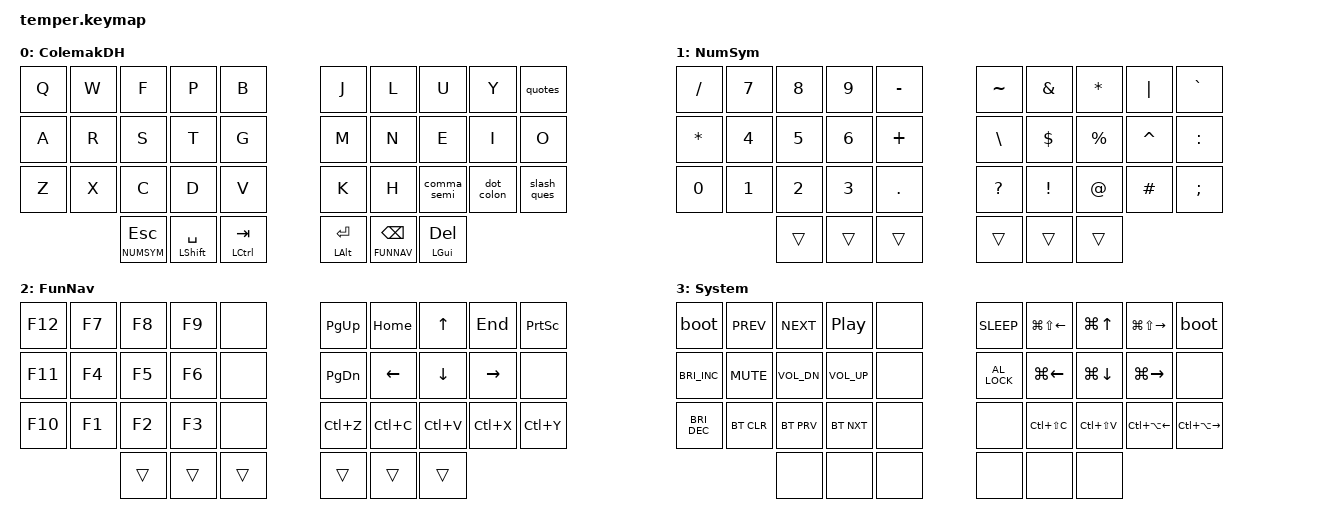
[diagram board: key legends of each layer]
/*
 * https://github.com/zmkfirmware/zmk/blob/main/app/include/dt-bindings/zmk/keys.h
 */

#include "zmk-nodefree-config/helper.h"
#include "zmk-nodefree-config/keypos_def/keypos_36keys.h"

#include <behaviors.dtsi>
#include <dt-bindings/zmk/keys.h>
#include <dt-bindings/zmk/bt.h>

#define DEF 0
#define NUMSYM 1
#define FUNNAV 2
#define SYS 3
// #define GMG 4

#define XXX &none
#define ___ &trans

#define QUICK_TAP_MS 175

#define KEYS_L LT0 LT1 LT2 LT3 LT4 LM0 LM1 LM2 LM3 LM4 LB0 LB1 LB2 LB3 LB4  /* left hand  */
#define KEYS_R RT0 RT1 RT2 RT3 RT4 RM0 RM1 RM2 RM3 RM4 RB0 RB1 RB2 RB3 RB4  /* right hand */
#define THUMBS LH2 LH1 LH0 RH0 RH1 RH2                                      /* thumbs     */

// ---------- SETTINGS ----------

&sk {  // sticky-key config
    release-after-ms = <1000>; // release after 1s
    quick-release;             // no double capitalization when rolling keys
};

&sl {  // sticky-layer config
    ignore-modifiers;          // allow chording sticky mods & layers
};

&lt {  // layer-tap config
    flavor = "balanced";
    tapping-term-ms = <200>;
    quick-tap-ms = <QUICK_TAP_MS>;
};

// ----------- COMBOS -----------
#undef COMBO_HOOK
#define COMBO_HOOK require-prior-idle-ms = <150>;
#define COMBO_TERM_FAST 25
#define COMBO_TERM_SLOW 50

// left and right brace { }
ZMK_COMBO(lbrc, &kp LBRC, RT1 RT2, DEF NUMSYM, COMBO_TERM_FAST)
ZMK_COMBO(rbrc, &kp RBRC, RT2 RT3, DEF NUMSYM, COMBO_TERM_FAST)

// left and right bracket [ ]
ZMK_COMBO(lbkt, &kp LBKT, RT0 RT1, DEF NUMSYM, COMBO_TERM_FAST)
ZMK_COMBO(rbkt, &kp RBKT, RT3 RT4, DEF NUMSYM, COMBO_TERM_FAST)

// left and right parenthesis ( )
ZMK_COMBO(lpar, &kp LPAR, RM1 RM2, DEF NUMSYM, COMBO_TERM_FAST)
ZMK_COMBO(rpar, &kp RPAR, RM2 RM3, DEF NUMSYM, COMBO_TERM_FAST)

// tilde ~
ZMK_COMBO(tilde, &kp TILDE, LM3 LM2, DEF, COMBO_TERM_FAST)
// MINUS -
ZMK_COMBO(minus, &kp MINUS, LM2 LM1, DEF, COMBO_TERM_FAST)


// left and right less-then and greater-then < >
ZMK_COMBO(lt, &kp LT, LT3 LT2, DEF, COMBO_TERM_FAST)
ZMK_COMBO(gt, &kp GT, LT2 LT1, DEF, COMBO_TERM_FAST)

// forward and backward slash \ /
ZMK_COMBO(backslash, &kp BACKSLASH, LB3 LB2, DEF, COMBO_TERM_FAST)
ZMK_COMBO(slash, &kp SLASH, LB2 LB1, DEF, COMBO_TERM_FAST)

ZMK_COMBO(under, &kp UNDER, RB1 RB2, DEF NUMSYM, COMBO_TERM_FAST)
ZMK_COMBO(equal, &kp EQUAL, RB2 RB3, DEF NUMSYM, COMBO_TERM_FAST)

// // macOS shift space left and right
// ZMK_COMBO(workspace_left,  &kp LC(LEFT),  LM3 LM2, NUM FUN, COMBO_TERM_FAST)
// ZMK_COMBO(workspace_right, &kp LC(RIGHT), LM2 LM1, NUM FUN, COMBO_TERM_FAST)

// left and right arrow '->'
ZMK_BEHAVIOR(larr, macro,
    wait-ms = <0>;
    tap-ms = <5>;
    bindings = <&kp LT &kp MINUS>;
)
ZMK_BEHAVIOR(rarr, macro,
    wait-ms = <0>;
    tap-ms = <5>;
    bindings = <&kp MINUS &kp GT>;
)
ZMK_COMBO(left_arrow,  &larr, LM4 LM3, DEF, COMBO_TERM_FAST)
ZMK_COMBO(right_arrow, &rarr, LM1 LM0, DEF, COMBO_TERM_FAST)


// ----------- KEYMAP -----------

// Cross-hand only home row mods
#define MAKE_HRM(NAME, HOLD, TAP, TRIGGER_POS) \
    ZMK_BEHAVIOR(NAME, hold_tap, \
        flavor = "balanced"; \
        tapping-term-ms = <280>; \
        quick-tap-ms = <QUICK_TAP_MS>; \
        require-prior-idle-ms = <150>; \
        bindings = <HOLD>, <TAP>; \
        hold-trigger-key-positions = <TRIGGER_POS>; \
        hold-trigger-on-release; \
    )
MAKE_HRM(hml, &kp, &kp, KEYS_R THUMBS)  // left-hand HRMs
MAKE_HRM(hmr, &kp, &kp, KEYS_L THUMBS)  // right-hand HRMs
MAKE_HRM(hma, &kp, &kp, KEYS_L KEYS_R THUMBS)  // both hand


// tap: sticky shift | shift + tap or double-tap: caps word | hold: navigation layer
#define smart_shift smart_shift_inner SYM 0
ZMK_BEHAVIOR(smart_shift_inner, hold_tap,
    flavor = "balanced";
    tapping-term-ms = <200>;
    quick-tap-ms = <QUICK_TAP_MS>;
    bindings = <&mo>, <&shift_word>;
)
ZMK_BEHAVIOR(shift_word, mod_morph,
    bindings = <&sk LSHFT>, <&caps_word>;
    mods = <MOD_LSFT>;
)

// tap: backspace | lshft + tap: delete | rshft + tap: shift-delete
ZMK_BEHAVIOR(bs_del, mod_morph,
    bindings = <&kp BSPC>, <&kp DEL>;
    mods = <(MOD_LSFT|MOD_RSFT)>;
    /* keep-mods = <MOD_RSFT>; */
)

// reuse basic mod-morph scheme
#define SIMPLE_MORPH(NAME, MOD, BINDING1, BINDING2) \
    ZMK_BEHAVIOR(NAME, mod_morph, \
        mods = <(MOD_L ## MOD|MOD_R ## MOD)>; \
        bindings = <BINDING1>, <BINDING2>; \
    )

// tap: colon | shift + tap: semicolon
SIMPLE_MORPH(semi_colon, SFT, &kp SEMI, &kp COLON)

// tap: plus | shift + tap: equal
SIMPLE_MORPH(plus_equal, SFT, &kp PLUS, &kp EQUAL)

// tap: ' | shift + tap: "
SIMPLE_MORPH(quotes, SFT, &kp APOS, &kp DOUBLE_QUOTES)

// tap: - | shift + tap: _
SIMPLE_MORPH(hyphen_under, SFT, &kp MINUS, &kp UNDER)

// tap: ` | shift + tap: ~
SIMPLE_MORPH(grave_tilde, SFT, &kp GRAVE, &kp TILDE)

// tap: ` | shift + tap: ~
SIMPLE_MORPH(slash_ques, SFT, &kp SLASH, &kp QMARK)

// tap: . | shift + tap: :
SIMPLE_MORPH(dot_colon, SFT, &kp DOT, &kp COLON)

// tap: , | shift + tap: ;
SIMPLE_MORPH(comma_semi, SFT, &kp COMMA, &kp SEMI)

// tap: space | shift + tap: dot -> space -> sticky shift | hold: space
SIMPLE_MORPH(smart_space, SFT, &kp SPACE, &dot_space)
ZMK_BEHAVIOR(dot_space, macro,
    wait-ms = <0>;
    tap-ms = <5>;
    bindings = <&kp DOT &kp SPACE &sk LSHFT>;
)

// double-tap to enter bootloader
ZMK_BEHAVIOR(boot, tap_dance,
    bindings = <&none>, <&bootloader>;
)
   
ZMK_LAYER(ColemakDH,
// ╭─────────────┬─────────────┬─────────────┬─────────────┬─────────────╮   ╭─────────────┬─────────────┬─────────────┬─────────────┬─────────────╮
        &kp Q         &kp W         &kp F         &kp P         &kp B             &kp J         &kp L         &kp U         &kp Y        &quotes
// ├─────────────┼─────────────┼─────────────┼─────────────┼─────────────┤   ├─────────────┼─────────────┼─────────────┼─────────────┼─────────────┤
        &kp A         &kp R         &kp S         &kp T         &kp G             &kp M         &kp N          &kp E         &kp I        &kp O
// ├─────────────┼─────────────┼─────────────┼─────────────┼─────────────┤   ├─────────────┼─────────────┼─────────────┼─────────────┼─────────────┤
        &kp Z         &kp X         &kp C         &kp D         &kp V             &kp K         &kp H      &comma_semi   &dot_colon    &slash_ques
// ╰─────────────┴─────────────┼─────────────┼─────────────┼─────────────┤   ├─────────────┼─────────────┼─────────────┼─────────────┴─────────────╯
                               &lt NUMSYM ESC &hma LSHFT SPACE  &hma LCTRL TAB   &hma LALT ENTER &lt FUNNAV BSPC &hma LGUI DEL 
//                             ╰─────────────┴─────────────┴─────────────╯   ╰─────────────┴─────────────┴─────────────╯
)

ZMK_LAYER(NumSym,
// ╭─────────────┬─────────────┬─────────────┬─────────────┬─────────────╮   ╭─────────────┬─────────────┬─────────────┬─────────────┬─────────────╮
      &kp SLASH      &kp N7        &kp N8        &kp N9     &kp MINUS          &kp TILDE     &kp AMPS       &kp STAR      &kp PIPE     &kp GRAVE
// ├─────────────┼─────────────┼─────────────┼─────────────┼─────────────┤   ├─────────────┼─────────────┼─────────────┼─────────────┼─────────────┤
      &kp STAR      &kp N4         &kp N5        &kp N6      &kp PLUS          &kp BACKSLASH   &kp DOLLAR   &kp PERCENT    &kp CARET     &kp COLON
// ├─────────────┼─────────────┼─────────────┼─────────────┼─────────────┤   ├─────────────┼─────────────┼─────────────┼─────────────┼─────────────┤
       &kp N0        &kp N1        &kp N2        &kp N3        &kp DOT          &kp QMARK     &kp EXCL        &kp AT      &kp HASH       &kp SEMI
// ╰─────────────┴─────────────┼─────────────┼─────────────┼─────────────┤   ├─────────────┼─────────────┼─────────────┼─────────────┴─────────────╯
                                     ___           ___           ___              ___           ___           ___
//                             ╰─────────────┴─────────────┴─────────────╯   ╰─────────────┴─────────────┴─────────────╯
)



ZMK_LAYER(FunNav,
// ╭─────────────┬─────────────┬─────────────┬─────────────┬─────────────╮   ╭─────────────┬─────────────┬─────────────┬─────────────┬─────────────╮
       &kp F12         &kp F7      &kp F8         &kp F9         XXX           &kp PG_UP     &kp HOME       &kp UP        &kp END     &kp PSCRN
// ├─────────────┼─────────────┼─────────────┼─────────────┼─────────────┤   ├─────────────┼─────────────┼─────────────┼─────────────┼─────────────┤
       &kp F11         &kp F4      &kp F5         &kp F6         XXX           &kp PG_DN     &kp LEFT      &kp DOWN      &kp RIGHT       XXX         
// ├─────────────┼─────────────┼─────────────┼─────────────┼─────────────┤   ├─────────────┼─────────────┼─────────────┼─────────────┼─────────────┤
       &kp F10          &kp F1     &kp F2         &kp F3         XXX            &kp LC(Z)     &kp LC(C)     &kp LC(V)    &kp LC(X)     &kp LC(Y) 
// ╰─────────────┴─────────────┼─────────────┼─────────────┼─────────────┤   ├─────────────┼─────────────┼─────────────┼─────────────┴─────────────╯
                                     ___           ___           ___              ___           ___           ___
//                             ╰─────────────┴─────────────┴─────────────╯   ╰─────────────┴─────────────┴─────────────╯
)


ZMK_LAYER(System,
// ╭─────────────┬─────────────┬─────────────┬─────────────┬─────────────╮   ╭─────────────┬─────────────┬─────────────┬─────────────┬─────────────╮
        &boot      &kp C_PREV    &kp C_NEXT     &kp C_PP         XXX           &kp C_SLEEP &kp LG(LS(LEFT)) &kp LG(UP)  &kp LG(LS(RIGHT))  &boot
// ├─────────────┼─────────────┼─────────────┼─────────────┼─────────────┤   ├─────────────┼─────────────┼─────────────┼─────────────┼─────────────┤
    &kp C_BRI_INC  &kp C_MUTE   &kp C_VOL_DN  &kp C_VOL_UP       XXX           &kp C_AL_LOCK &kp LG(LEFT)  &kp LG(DOWN)  &kp LG(RIGHT)     XXX
// ├─────────────┼─────────────┼─────────────┼─────────────┼─────────────┤   ├─────────────┼─────────────┼─────────────┼─────────────┼─────────────┤
    &kp C_BRI_DEC  &bt BT_CLR    &bt BT_PRV    &bt BT_NXT        XXX               XXX      &kp LC(LS(C)) &kp LC(LS(V))  &kp LC(LA(LEFT)) &kp LC(LA(RIGHT))
// ╰─────────────┴─────────────┼─────────────┼─────────────┼─────────────┤   ├─────────────┼─────────────┼─────────────┼─────────────┴─────────────╯
                                     XXX           XXX           XXX               XXX           XXX           XXX
//                             ╰─────────────┴─────────────┴─────────────╯   ╰─────────────┴─────────────┴─────────────╯
)

// ZMK_LAYER(Gaming,
// // ╭─────────────┬─────────────┬─────────────┬─────────────┬─────────────╮   ╭─────────────┬─────────────┬─────────────┬─────────────┬─────────────╮
//         &kp Q         &kp W         &kp F         &kp P         &kp B             &kp J         &kp L         &kp U         &kp Y         &kp APOS
// // ├─────────────┼─────────────┼─────────────┼─────────────┼─────────────┤   ├─────────────┼─────────────┼─────────────┼─────────────┼─────────────┤
//      &hml LGUI A   &hml LALT R  &hml LCTRL S  &hml LSHFT T      &kp G             &kp M     &hmr RSHFT N  &hmr RCTRL E   &hmr RALT I   &hmr RGUI O
// // ├─────────────┼─────────────┼─────────────┼─────────────┼─────────────┤   ├─────────────┼─────────────┼─────────────┼─────────────┼─────────────┤
//         &kp Z         &kp X         &kp C         &kp D         &kp V             &kp K         &kp H       &kp COMMA      &kp DOT      &kp SLASH
// // ╰─────────────┴─────────────┼─────────────┼─────────────┼─────────────┤   ├─────────────┼─────────────┼─────────────┼─────────────┴─────────────╯
//                                    &kp ESC    &smart_space    &smart_tab      &lt FUN ENTER    &bs_del     &shift_word
// //                             ╰─────────────┴─────────────┴─────────────╯   ╰─────────────┴─────────────┴─────────────╯
// )

// ╭─────────────┬─────────────┬─────────────┬─────────────┬─────────────╮   ╭─────────────┬─────────────┬─────────────┬─────────────┬─────────────╮
//       XXX           XXX           XXX           XXX           XXX               XXX           XXX           XXX           XXX           XXX
// ├─────────────┼─────────────┼─────────────┼─────────────┼─────────────┤   ├─────────────┼─────────────┼─────────────┼─────────────┼─────────────┤
//       XXX           XXX           XXX           XXX           XXX               XXX           XXX           XXX           XXX           XXX
// ├─────────────┼─────────────┼─────────────┼─────────────┼─────────────┤   ├─────────────┼─────────────┼─────────────┼─────────────┼─────────────┤
//       XXX           XXX           XXX           XXX           XXX               XXX           XXX           XXX           XXX           XXX
// ╰─────────────┴─────────────┼─────────────┼─────────────┼─────────────┤   ├─────────────┼─────────────┼─────────────┼─────────────┴─────────────╯
//                                   XXX           XXX           XXX               XXX           XXX           XXX
//                             ╰─────────────┴─────────────┴─────────────╯   ╰─────────────┴─────────────┴─────────────╯

// vim: filetype=c
